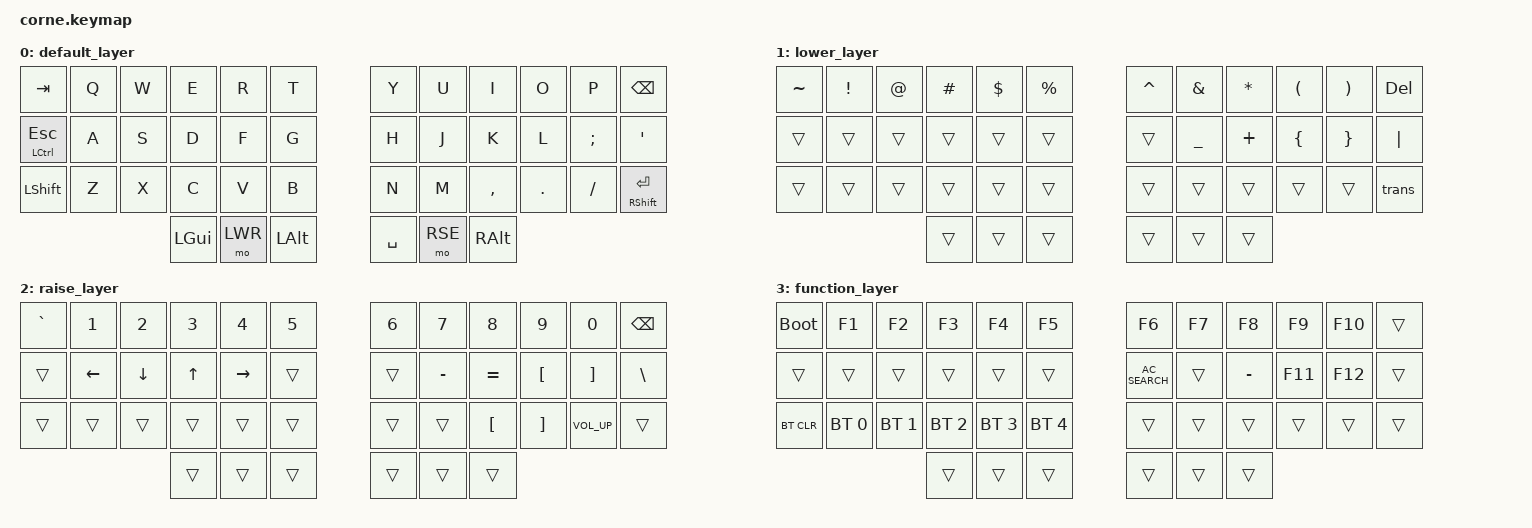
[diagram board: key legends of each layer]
/*
 * Copyright (c) 2020 The ZMK Contributors
 *
 * SPDX-License-Identifier: MIT
 */

#include <behaviors.dtsi>
#include <dt-bindings/zmk/keys.h>
#include <dt-bindings/zmk/bt.h>

#define DEF 0
#define LWR 1
#define RSE 2
#define FNC 3

/ {

        
        conditional_layers {
                compatible = "zmk,conditional-layers";
                tri_layer {
                        if-layers = <1 2>;
                            then-layer = <3>;
                        };
                };
        behaviors {
                td0: tap_dance_0 {
                    compatible = "zmk,behavior-tap-dance";
                    label = "TAP_DANCE_0";
                    #binding-cells = <0>;
                    tapping-term-ms = <200>;
                    bindings = <&kp LSHFT>, <&kp CAPS>;
                };
        };
        keymap {
                compatible = "zmk,keymap";
                default_layer {
                        bindings = <
                           &kp TAB       &kp Q &kp W &kp E &kp R   &kp T    &kp Y &kp U  &kp I     &kp O   &kp P    &kp BSPC
                           &mt LCTRL ESC &kp A &kp S &kp D &kp F   &kp G    &kp H &kp J  &kp K     &kp L   &kp SEMI &kp SQT
                           &kp LSHFT     &kp Z &kp X &kp C &kp V   &kp B    &kp N &kp M  &kp COMMA &kp DOT &kp FSLH &mt RSHFT RET
                                               &kp LGUI    &mo LWR &kp LALT &kp SPACE    &mo RSE   &kp RALT
                                >;
                };
                lower_layer {
                        bindings = <
                                &kp TILDE   &kp EXCL    &kp AT      &kp HASH    &kp DLLR    &kp PRCNT   &kp CARET   &kp AMPS    &kp STAR    &kp LPAR     &kp RPAR        &kp DEL
                                &trans      &trans      &trans      &trans      &trans      &trans      &trans      &kp UNDER   &kp PLUS    &kp LBRC     &kp RBRC        &kp PIPE
                                &trans      &trans      &trans      &trans      &trans      &trans      &trans      &trans      &trans      &trans       &trans          &kp trans
                                                    &trans &trans       &trans      &trans  &trans   &trans
                                >;
                };
                raise_layer {
                        bindings = <
                                &kp GRAVE   &kp N1      &kp N2      &kp N3      &kp N4      &kp N5      &kp N6      &kp N7      &kp N8      &kp N9      &kp N0          &kp BSPC
                                &trans      &kp LEFT    &kp DOWN    &kp UP      &kp RIGHT   &trans      &trans      &kp MINUS   &kp EQUAL   &kp LBKT    &kp RBKT        &kp BSLH
                                &trans      &trans      &trans      &trans      &trans      &trans      &trans      &trans      &kp LBKT    &kp RBKT    &kp C_VOL_UP    &trans
                                                    &trans &trans       &trans      &trans  &trans   &trans
                                >;
                };
                function_layer {
                        bindings = <
                                &bootloader     &kp F1          &kp F2          &kp F3          &kp F4          &kp F5          &kp F6          &kp F7      &kp F8      &kp F9      &kp F10     &trans
                                &trans          &trans          &trans          &trans          &trans          &trans          &kp C_AC_SEARCH &trans      &kp MINUS   &kp F11     &kp F12     &trans
                                &bt BT_CLR      &bt BT_SEL 0    &bt BT_SEL 1    &bt BT_SEL 2    &bt BT_SEL 3    &bt BT_SEL 4    &trans          &trans      &trans      &trans      &trans      &trans
                                                    &trans &trans       &trans      &trans  &trans   &trans
                        >;
                };
        };
};
